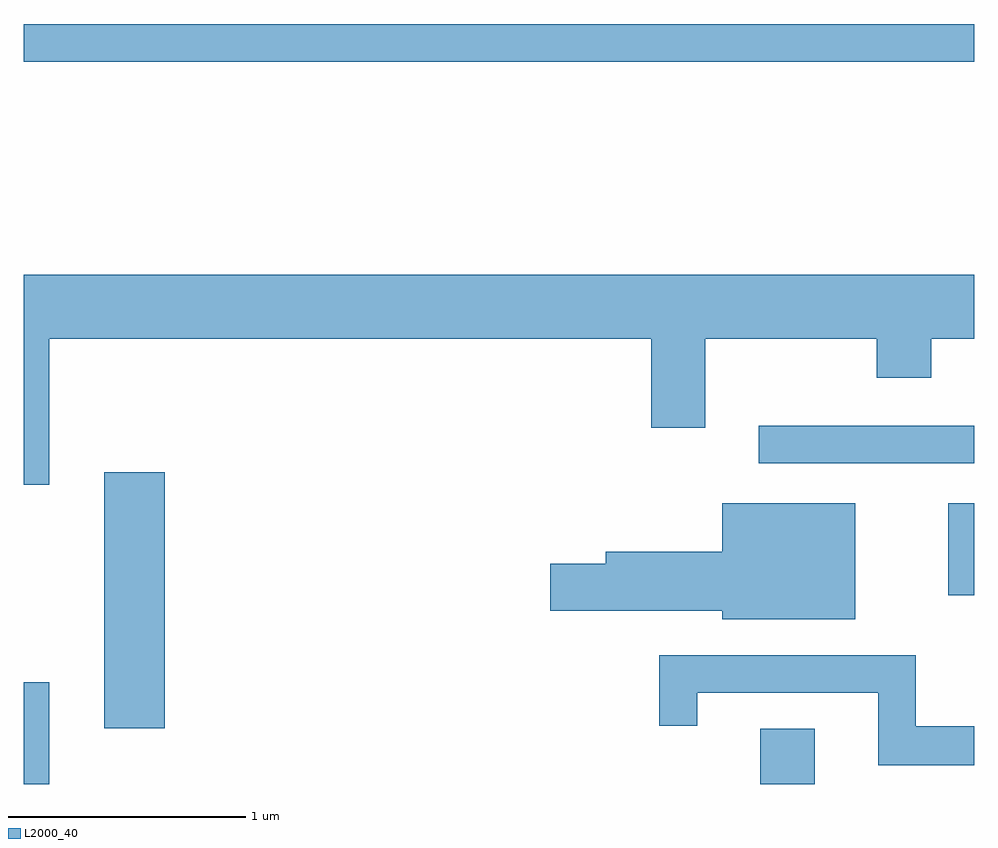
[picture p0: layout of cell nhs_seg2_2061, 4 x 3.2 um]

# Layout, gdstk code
import gdstk
lib = gdstk.Library(unit=1e-6, precision=1e-09)
def R(c, l, rs):  # rectangles x0, y0, x1, y1
    for r in rs: c.add(gdstk.rectangle(r[:2], r[2:], *l))
def P(c, l, *ps):  # polygons
    for p in ps: c.add(gdstk.Polygon(p, *l))
L2000_40 = (2000, 40)

nhs_seg2_2061 = lib.new_cell('nhs_seg2_2061')
R(nhs_seg2_2061, L2000_40, [(245.611,1019.802,245.719,1020.229), (248.711,1019.802,248.939,1020.034), (245.951,1020.036,246.204,1021.114), (249.501,1020.596,249.611,1020.984), (248.703,1021.151,249.611,1021.309), (245.611,1022.841,249.611,1022.999)])
P(nhs_seg2_2061, L2000_40, [(245.719,1021.676),(248.251,1021.676),(248.251,1021.301),(248.479,1021.301),(248.479,1021.676),(249.201,1021.676),(249.201,1021.511),(249.429,1021.511),(249.429,1021.676),(249.611,1021.676),(249.611,1021.944),(245.611,1021.944),(245.611,1021.061),(245.719,1021.061)],
  [(249.109,1020.984),(248.551,1020.984),(248.551,1020.779),(248.061,1020.779),(248.061,1020.729),(247.826,1020.729),(247.826,1020.531),(248.551,1020.531),(248.551,1020.496),(249.109,1020.496)],
  [(249.611,1020.044),(249.364,1020.044),(249.364,1020.344),(248.286,1020.344),(248.286,1020.048),(248.444,1020.048),(248.444,1020.186),(249.206,1020.186),(249.206,1019.881),(249.611,1019.881)])

lib.write_gds('nhs_seg2_2061.gds')
